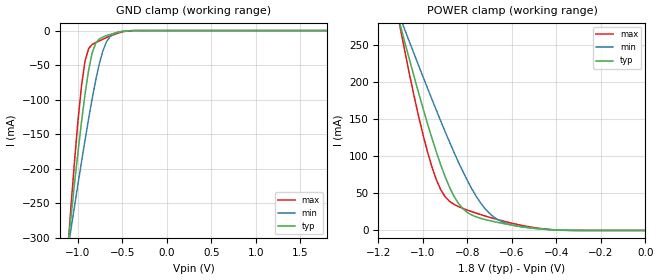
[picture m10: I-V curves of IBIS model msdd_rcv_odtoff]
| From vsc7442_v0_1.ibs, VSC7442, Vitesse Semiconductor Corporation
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|   Model msdd_rcv_odtoff
[Model]  msdd_rcv_odtoff
Model_type Input
Polarity   Non-Inverting
Vinl =   0.6500V
Vinh =   1.1500V
C_comp   2.0000pF   1.8000pF   2.2000pF
[Temperature Range]   25.0000   0.1250k   -40.0000
[Pullup Reference]   1.8000V   1.7000V   1.9000V
[Pulldown Reference]   0.0V   0.0V   0.0V
[POWER Clamp Reference]   1.8000V   1.7000V   1.9000V
[GND Clamp Reference]   0.0V   0.0V   0.0V
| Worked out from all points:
|   GND clamp passes 1 mA (typ) near -0.49 V on its own axis
|   POWER clamp passes 1 mA (typ) near -0.43 V on its own axis
[GND_clamp]
|Voltage   I(typ)   I(min)   I(max)
-1.8V     -1.192A    -912.9mA   -1.596A
-1.12V    -321.2mA   -323mA     -327.7mA
-1.08V    -271.8mA   -289.3mA   -258.1mA
-1V       -176.7mA   -222.8mA   -131.1mA
-960mV    -132.3mA   -190.2mA   -80.01mA
-920mV    -91.81mA   -158.4mA   -43.87mA
-880mV    -57.37mA   -127.7mA   -26.1mA
-840mV    -32.21mA   -98.53mA   -20.15mA
-760mV    -12.16mA   -48.23mA   -14.88mA
-680mV    -7.376mA   -16.43mA   -10.25mA
-520mV    -1.664mA   -1.581mA   -2.591mA
1.8V      2.446nA    789.8nA    214.8pA
[POWER_clamp]
|Voltage   I(typ)   I(min)   I(max)
-1.8V     1.099A     849.3mA    1.455A
-1.1V     274.1mA    284.7mA    269.6mA
-1.08V    251.6mA    269mA      239mA
-1V       164.7mA    207.1mA    129.2mA
-940mV    105.7mA    161.9mA    68.37mA
-900mV    72.1mA     132.8mA    45.22mA
-860mV    45.8mA     104.9mA    35.06mA
-800mV    24.13mA    66.94mA    27.39mA
-720mV    14.64mA    28.98mA    19.45mA
-620mV    8.314mA    9.03mA     11.21mA
-400mV    592.3uA    795.4uA    672uA
0V        2.446nA    50.91nA    311.2pA
